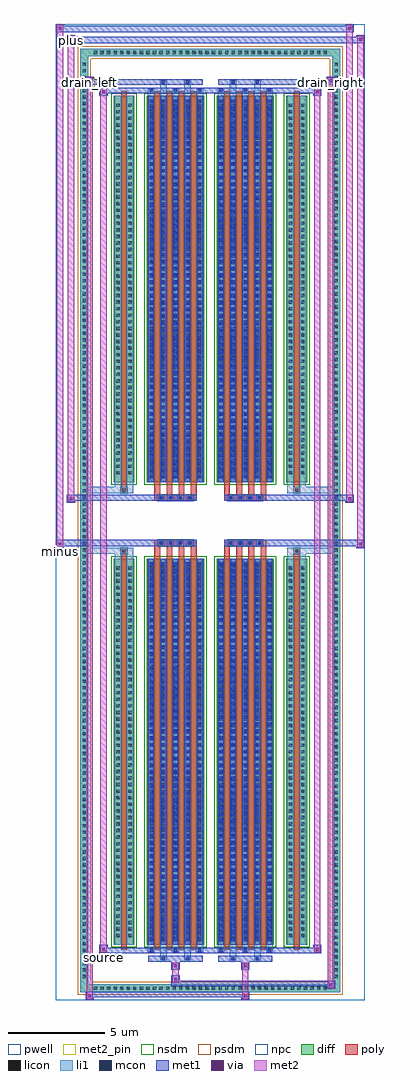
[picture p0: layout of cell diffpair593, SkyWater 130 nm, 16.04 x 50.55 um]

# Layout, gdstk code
import gdstk
lib = gdstk.Library(unit=1e-6, precision=5e-09)
def R(c, l, rs):  # rectangles x0, y0, x1, y1
    for r in rs: c.add(gdstk.rectangle(r[:2], r[2:], *l))
def A(c, l, x, y, w, h, nx, ny, dx, dy):  # array of equal rectangles
    R(c, l, [(x+i*dx, y+j*dy, x+i*dx+w, y+j*dy+h) for i in range(nx) for j in range(ny)])
def P(c, l, *ps):  # polygons
    for p in ps: c.add(gdstk.Polygon(p, *l))
pwell = (64, 44)
diff = (65, 20)
poly = (66, 20)
licon = (66, 44)
li1 = (67, 20)
mcon = (67, 44)
met1 = (68, 20)
via = (68, 44)
met2_pin = (69, 16)
met2 = (69, 20)
nsdm = (93, 44)
psdm = (94, 20)
npc = (95, 20)

diffpair593 = lib.new_cell('diffpair593')
R(diffpair593, pwell, [(-8,-24.84,8,25.71), (-5.32,-23.03,-0.01,-0.805), (0.01,-23.03,5.32,-0.805), (-5.32,0.805,-0.01,23.03), (0.01,0.805,5.32,23.03)])
A(diffpair593, diff, -6.155, -24.44, 0.41, 0.41, 36, 2, 0.34, 48.47)
A(diffpair593, diff, -6.73, -23.835, 0.41, 0.41, 1, 140, 0, 0.34)
A(diffpair593, diff, 6.32, -23.835, 0.41, 0.41, 1, 140, 0, 0.34)
R(diffpair593, diff, [(-6.155,-24.44,6.155,-24.03), (-6.73,-23.835,-6.32,23.835), (6.32,-23.835,6.73,23.835), (-5.01,-21.985,-3.93,-1.985), (-3.29,-21.985,-0.32,-1.985), (0.32,-21.985,3.29,-1.985), (3.93,-21.985,5.01,-1.985), (-5.01,1.985,-3.93,21.985), (-3.29,1.985,-0.32,21.985), (0.32,1.985,3.29,21.985), (3.93,1.985,5.01,21.985), (-6.155,24.03,6.155,24.44)])
P(diffpair593, diff, [(6.73,24.44),(-6.73,24.44),(-6.73,-24.03),(-6.32,-24.03),(-6.32,24.03),(6.32,24.03),(6.32,-24.03),(-6.32,-24.03),(-6.73,-24.03),(-6.73,-24.44),(6.73,-24.44)])
A(diffpair593, poly, -2.9, -22.235, 0.3, 20.5, 4, 2, 0.63, 23.97)
A(diffpair593, poly, 0.71, -22.235, 0.3, 20.5, 4, 2, 0.63, 23.97)
A(diffpair593, poly, -2.9, -1.735, 0.3, 0.4, 4, 2, 0.63, 3.07)
A(diffpair593, poly, 0.71, -1.735, 0.3, 0.4, 4, 2, 0.63, 3.07)
A(diffpair593, poly, -2.72, -1.335, 0.33, 0.33, 4, 2, 0.5, 2.34)
A(diffpair593, poly, 0.89, -1.335, 0.33, 0.33, 4, 2, 0.5, 2.34)
R(diffpair593, poly, [(-4.62,-22.235,-4.32,-1.735), (4.32,-22.235,4.62,-1.735), (-4.635,-1.735,-4.305,-1.405), (-4.635,-1.735,-4.305,-1.405), (4.305,-1.735,4.635,-1.405), (4.305,-1.735,4.635,-1.405), (-2.9,-1.335,-0.71,-1.005), (0.71,-1.335,2.9,-1.005), (-2.9,1.005,-0.71,1.335), (0.71,1.005,2.9,1.335), (-4.635,1.405,-4.305,1.735), (-4.635,1.405,-4.305,1.735), (4.305,1.405,4.635,1.735), (4.305,1.405,4.635,1.735), (-4.62,1.735,-4.32,22.235), (4.32,1.735,4.62,22.235)])
A(diffpair593, licon, -6.035, -24.32, 0.17, 0.17, 36, 2, 0.34, 48.47)
A(diffpair593, licon, -6.61, -23.715, 0.17, 0.17, 1, 140, 0, 0.34)
A(diffpair593, licon, 6.44, -23.715, 0.17, 0.17, 1, 140, 0, 0.34)
A(diffpair593, licon, -4.87, -21.59, 0.17, 0.17, 1, 57, 0, 0.34)
A(diffpair593, licon, -4.24, -21.59, 0.17, 0.17, 1, 57, 0, 0.34)
A(diffpair593, licon, -3.15, -21.59, 0.17, 0.17, 5, 57, 0.63, 0.34)
A(diffpair593, licon, 0.46, -21.59, 0.17, 0.17, 5, 57, 0.63, 0.34)
A(diffpair593, licon, 4.07, -21.59, 0.17, 0.17, 1, 57, 0, 0.34)
A(diffpair593, licon, 4.7, -21.59, 0.17, 0.17, 1, 57, 0, 0.34)
A(diffpair593, licon, -2.64, -1.255, 0.17, 0.17, 4, 2, 0.5, 2.34)
A(diffpair593, licon, 0.97, -1.255, 0.17, 0.17, 4, 2, 0.5, 2.34)
A(diffpair593, licon, -4.87, 2.38, 0.17, 0.17, 1, 57, 0, 0.34)
A(diffpair593, licon, -4.24, 2.38, 0.17, 0.17, 1, 57, 0, 0.34)
A(diffpair593, licon, -3.15, 2.38, 0.17, 0.17, 5, 57, 0.63, 0.34)
A(diffpair593, licon, 0.46, 2.38, 0.17, 0.17, 5, 57, 0.63, 0.34)
A(diffpair593, licon, 4.07, 2.38, 0.17, 0.17, 1, 57, 0, 0.34)
A(diffpair593, licon, 4.7, 2.38, 0.17, 0.17, 1, 57, 0, 0.34)
R(diffpair593, licon, [(-4.555,-1.655,-4.385,-1.485), (4.385,-1.655,4.555,-1.485), (-4.555,1.485,-4.385,1.655), (4.385,1.485,4.555,1.655)])
A(diffpair593, li1, -6.115, -24.4, 0.33, 0.33, 36, 2, 0.34, 48.47)
A(diffpair593, li1, -6.69, -23.795, 0.33, 0.33, 1, 140, 0, 0.34)
A(diffpair593, li1, 6.36, -23.795, 0.33, 0.33, 1, 140, 0, 0.34)
A(diffpair593, li1, -3.23, -22.36, 0.33, 0.375, 3, 2, 1.26, 44.345)
A(diffpair593, li1, -3.15, -22.36, 0.17, 0.17, 3, 2, 1.26, 44.55)
A(diffpair593, li1, 0.38, -22.36, 0.33, 0.375, 3, 2, 1.26, 44.345)
A(diffpair593, li1, 0.46, -22.36, 0.17, 0.17, 3, 2, 1.26, 44.55)
A(diffpair593, li1, -3.23, -21.985, 0.33, 20, 5, 2, 0.63, 23.97)
A(diffpair593, li1, 0.38, -21.985, 0.33, 20, 5, 2, 0.63, 23.97)
A(diffpair593, li1, -3.15, -21.79, 0.17, 0.17, 5, 55, 0.63, 0.36)
A(diffpair593, li1, -3.15, -21.79, 0.17, 19.61, 5, 2, 0.63, 23.97)
A(diffpair593, li1, 0.46, -21.79, 0.17, 0.17, 5, 55, 0.63, 0.36)
A(diffpair593, li1, 0.46, -21.79, 0.17, 19.61, 5, 2, 0.63, 23.97)
A(diffpair593, li1, -4.95, -21.67, 0.33, 0.33, 1, 57, 0, 0.34)
A(diffpair593, li1, -4.32, -21.67, 0.33, 0.33, 1, 57, 0, 0.34)
A(diffpair593, li1, -3.23, -21.67, 0.33, 0.33, 5, 57, 0.63, 0.34)
A(diffpair593, li1, 0.38, -21.67, 0.33, 0.33, 5, 57, 0.63, 0.34)
A(diffpair593, li1, 3.99, -21.67, 0.33, 0.33, 1, 57, 0, 0.34)
A(diffpair593, li1, 4.62, -21.67, 0.33, 0.33, 1, 57, 0, 0.34)
A(diffpair593, li1, -2.72, -1.335, 0.33, 0.33, 4, 2, 0.5, 2.34)
A(diffpair593, li1, 0.89, -1.335, 0.33, 0.33, 4, 2, 0.5, 2.34)
A(diffpair593, li1, -3.15, 2.18, 0.17, 0.17, 5, 55, 0.63, 0.36)
A(diffpair593, li1, 0.46, 2.18, 0.17, 0.17, 5, 55, 0.63, 0.36)
A(diffpair593, li1, -4.95, 2.3, 0.33, 0.33, 1, 57, 0, 0.34)
A(diffpair593, li1, -4.32, 2.3, 0.33, 0.33, 1, 57, 0, 0.34)
A(diffpair593, li1, -3.23, 2.3, 0.33, 0.33, 5, 57, 0.63, 0.34)
A(diffpair593, li1, 0.38, 2.3, 0.33, 0.33, 5, 57, 0.63, 0.34)
A(diffpair593, li1, 3.99, 2.3, 0.33, 0.33, 1, 57, 0, 0.34)
A(diffpair593, li1, 4.62, 2.3, 0.33, 0.33, 1, 57, 0, 0.34)
R(diffpair593, li1, [(-6.73,-24.44,-6.32,-24.03), (-6.73,-24.44,-6.32,-24.03), (-6.32,-24.44,6.32,-24.03), (6.32,-24.44,6.73,-24.03), (6.32,-24.44,6.73,-24.03), (-6.73,-24.03,-6.32,24.03), (6.32,-24.03,6.73,24.03), (-2.6,-22.79,-2.27,-21.985), (-2.52,-22.79,-2.35,-22.62), (-1.34,-22.79,-1.01,-21.985), (-1.26,-22.79,-1.09,-22.62), (1.01,-22.79,1.34,-21.985), (1.09,-22.79,1.26,-22.62), (2.27,-22.79,2.6,-21.985), (2.35,-22.79,2.52,-22.62), (-4.95,-21.985,-4.62,-1.985), (-4.32,-21.985,-3.99,-1.985), (3.99,-21.985,4.32,-1.985), (4.62,-21.985,4.95,-1.985), (-4.95,-1.985,-4.62,-1.405), (-4.32,-1.985,-3.99,-1.405), (3.99,-1.985,4.32,-1.405), (4.62,-1.985,4.95,-1.405), (-6.73,-1.735,-4.635,-1.405), (-4.95,-1.735,-4.635,-1.405), (-4.635,-1.735,-4.305,-1.405), (-4.305,-1.735,-3.99,-1.405), (3.99,-1.735,4.305,-1.405), (4.305,-1.735,4.635,-1.405), (4.305,-1.735,6.73,-1.405), (4.635,-1.735,4.95,-1.405), (-6.73,1.405,-4.635,1.735), (-4.95,1.405,-4.635,1.735), (-4.95,1.405,-4.62,1.985), (-4.635,1.405,-4.305,1.735), (-4.32,1.405,-3.99,1.985), (-4.305,1.405,-3.99,1.735), (3.99,1.405,4.305,1.735), (3.99,1.405,4.32,1.985), (4.305,1.405,4.635,1.735), (4.305,1.405,6.73,1.735), (4.62,1.405,4.95,1.985), (4.635,1.405,4.95,1.735), (-4.95,1.985,-4.62,21.985), (-4.32,1.985,-3.99,21.985), (3.99,1.985,4.32,21.985), (4.62,1.985,4.95,21.985), (-2.6,21.985,-2.27,22.79), (-1.34,21.985,-1.01,22.79), (1.01,21.985,1.34,22.79), (2.27,21.985,2.6,22.79), (-2.52,22.62,-2.35,22.79), (-1.26,22.62,-1.09,22.79), (1.09,22.62,1.26,22.79), (2.35,22.62,2.52,22.79), (-6.73,24.03,-6.32,24.44), (-6.73,24.03,-6.32,24.44), (-6.32,24.03,6.32,24.44), (6.32,24.03,6.73,24.44), (6.32,24.03,6.73,24.44)])
A(diffpair593, mcon, -3.15, -22.36, 0.17, 0.17, 3, 2, 1.26, 44.55)
A(diffpair593, mcon, 0.46, -22.36, 0.17, 0.17, 3, 2, 1.26, 44.55)
A(diffpair593, mcon, -3.15, -21.79, 0.17, 0.17, 5, 55, 0.63, 0.36)
A(diffpair593, mcon, 0.46, -21.79, 0.17, 0.17, 5, 55, 0.63, 0.36)
A(diffpair593, mcon, -2.64, -1.255, 0.17, 0.17, 4, 2, 0.5, 2.34)
A(diffpair593, mcon, 0.97, -1.255, 0.17, 0.17, 4, 2, 0.5, 2.34)
A(diffpair593, mcon, -3.15, 2.18, 0.17, 0.17, 5, 55, 0.63, 0.36)
A(diffpair593, mcon, 0.46, 2.18, 0.17, 0.17, 5, 55, 0.63, 0.36)
R(diffpair593, mcon, [(-2.52,-22.79,-2.35,-22.62), (-1.26,-22.79,-1.09,-22.62), (1.09,-22.79,1.26,-22.62), (2.35,-22.79,2.52,-22.62), (-2.52,22.62,-2.35,22.79), (-1.26,22.62,-1.09,22.79), (1.09,22.62,1.26,22.79), (2.35,22.62,2.52,22.79)])
A(diffpair593, met1, -3.21, -22.42, 0.29, 0.29, 3, 2, 1.26, 44.55)
A(diffpair593, met1, 0.4, -22.42, 0.29, 0.29, 3, 2, 1.26, 44.55)
A(diffpair593, met1, -3.21, -21.985, 0.29, 20, 5, 2, 0.63, 23.97)
A(diffpair593, met1, 0.4, -21.985, 0.29, 20, 5, 2, 0.63, 23.97)
A(diffpair593, met1, -3.21, -21.85, 0.29, 0.29, 5, 55, 0.63, 0.36)
A(diffpair593, met1, 0.4, -21.85, 0.29, 0.29, 5, 55, 0.63, 0.36)
A(diffpair593, met1, -2.7, -1.315, 0.29, 0.29, 4, 2, 0.5, 2.34)
A(diffpair593, met1, 0.91, -1.315, 0.29, 0.29, 4, 2, 0.5, 2.34)
A(diffpair593, met1, -3.21, 2.12, 0.29, 0.29, 5, 55, 0.63, 0.36)
A(diffpair593, met1, 0.4, 2.12, 0.29, 0.29, 5, 55, 0.63, 0.36)
R(diffpair593, met1, [(-6.46,-24.84,-6.03,-24.41), (1.59,-24.84,2.02,-24.41), (-6.46,-24.7,2.02,-24.41), (6.03,-24.27,6.46,-23.84), (-2.02,-24.13,6.46,-23.84), (-2.02,-23.99,-1.59,-23.56), (-2.02,-23.28,-1.59,-22.85), (1.59,-23.28,2.02,-22.85), (-3.21,-22.85,-0.4,-22.56), (-2.58,-22.85,-2.29,-22.56), (-1.32,-22.85,-1.03,-22.56), (0.4,-22.85,3.21,-22.56), (1.03,-22.85,1.32,-22.56), (2.29,-22.85,2.58,-22.56), (-5.75,-22.42,-5.32,-21.99), (-5.75,-22.42,-3.21,-22.13), (-3.21,-22.42,-0.4,-22.13), (-0.4,-22.42,0.4,-22.13), (0.4,-22.42,3.21,-22.13), (3.21,-22.42,5.75,-22.13), (5.32,-22.42,5.75,-21.99), (-8,-1.435,-7.57,-1.005), (7.57,-1.435,8,-1.005), (-8,-1.335,-0.71,-1.005), (-2.9,-1.335,-0.71,-1.005), (0.71,-1.335,2.9,-1.005), (0.71,-1.335,8,-1.005), (-7.43,0.905,-7,1.335), (7,0.905,7.43,1.335), (-7.43,1.005,-2.9,1.335), (-2.9,1.005,-0.71,1.335), (0.71,1.005,2.9,1.335), (2.9,1.005,7.43,1.335), (-5.75,21.99,-5.32,22.42), (5.32,21.99,5.75,22.42), (-5.75,22.13,-3.21,22.42), (-3.21,22.13,-0.4,22.42), (-0.4,22.13,0.4,22.42), (0.4,22.13,3.21,22.42), (3.21,22.13,5.75,22.42), (-6.46,22.56,-6.03,22.99), (-6.46,22.56,-3.21,22.85), (-3.21,22.56,-0.4,22.85), (-2.58,22.56,-2.29,22.85), (-1.32,22.56,-1.03,22.85), (0.4,22.56,3.21,22.85), (1.03,22.56,1.32,22.85), (2.29,22.56,2.58,22.85), (3.21,22.56,6.46,22.85), (6.03,22.56,6.46,22.99), (-7.43,24.71,-7,25.14), (-7.43,24.71,-5.32,25.04), (-5.32,24.71,5.32,25.04), (5.32,24.71,8,25.04), (7.57,24.71,8,25.14), (-8,25.28,-7.57,25.71), (-8,25.28,-5.32,25.61), (-5.32,25.28,5.32,25.61), (5.32,25.28,7.43,25.61), (7,25.28,7.43,25.71)])
R(diffpair593, via, [(-6.32,-24.7,-6.17,-24.55), (1.73,-24.7,1.88,-24.55), (6.17,-24.13,6.32,-23.98), (-1.88,-23.85,-1.73,-23.7), (-1.88,-23.14,-1.73,-22.99), (1.73,-23.14,1.88,-22.99), (-5.61,-22.28,-5.46,-22.13), (5.46,-22.28,5.61,-22.13), (-7.86,-1.295,-7.71,-1.145), (7.71,-1.295,7.86,-1.145), (-7.29,1.045,-7.14,1.195), (7.14,1.045,7.29,1.195), (-5.61,22.13,-5.46,22.28), (5.46,22.13,5.61,22.28), (-6.32,22.7,-6.17,22.85), (6.17,22.7,6.32,22.85), (-7.29,24.85,-7.14,25), (7.71,24.85,7.86,25), (-7.86,25.42,-7.71,25.57), (7.14,25.42,7.29,25.57)])
R(diffpair593, met2_pin, [(-5.785,-22.87,-5.285,-22.37), (-8.035,-1.885,-7.535,-1.385), (-6.495,22.44,-5.995,22.94), (5.995,22.44,6.495,22.94), (-7.465,24.59,-6.965,25.09)])
R(diffpair593, met2, [(-6.41,-24.79,-6.08,-24.46), (-6.41,-24.79,-6.08,22.94), (1.64,-24.79,1.97,-24.46), (1.64,-24.46,1.97,-23.23), (6.08,-24.22,6.41,-23.89), (6.08,-24.22,6.41,22.94), (-1.97,-23.94,-1.64,-23.61), (-1.97,-23.61,-1.64,-23.23), (-1.97,-23.23,-1.64,-22.9), (1.64,-23.23,1.97,-22.9), (-5.7,-22.37,-5.37,-22.04), (-5.7,-22.37,-5.37,22.37), (5.37,-22.37,5.7,-22.04), (5.37,-22.37,5.7,22.37), (-7.95,-1.385,-7.62,-1.055), (-7.95,-1.385,-7.62,25.66), (7.62,-1.385,7.95,-1.055), (7.62,-1.385,7.95,25.09), (-7.38,0.955,-7.05,1.285), (-7.38,0.955,-7.05,25.09), (7.05,0.955,7.38,1.285), (7.05,0.955,7.38,25.66), (-5.7,22.04,-5.37,22.37), (5.37,22.04,5.7,22.37), (-6.41,22.61,-6.08,22.94), (6.08,22.61,6.41,22.94), (-7.38,24.76,-7.05,25.09), (7.62,24.76,7.95,25.09), (-7.95,25.33,-7.62,25.66), (7.05,25.33,7.38,25.66)])
P(diffpair593, met2, [(7.95,-1.385),(7.95,-1.385),(7.95,-1.055),(7.95,-1.055)],
  [(7.95,24.76),(7.95,24.76),(7.95,25.09),(7.95,25.09)],
  [(-7.62,-1.385),(-7.62,-1.385),(-7.62,-1.055),(-7.62,-1.055)],
  [(-7.62,25.33),(-7.62,25.33),(-7.62,25.66),(-7.62,25.66)],
  [(7.38,0.955),(7.38,0.955),(7.38,1.285),(7.38,1.285)],
  [(7.38,25.33),(7.38,25.33),(7.38,25.66),(7.38,25.66)],
  [(-7.05,0.955),(-7.05,0.955),(-7.05,1.285),(-7.05,1.285)],
  [(-7.05,24.76),(-7.05,24.76),(-7.05,25.09),(-7.05,25.09)],
  [(-6.08,-24.79),(-6.08,-24.79),(-6.08,-24.46),(-6.08,-24.46)],
  [(-6.08,22.61),(-6.08,22.61),(-6.08,22.94),(-6.08,22.94)],
  [(6.41,-24.22),(6.41,-24.22),(6.41,-23.89),(6.41,-23.89)],
  [(6.41,22.61),(6.41,22.61),(6.41,22.94),(6.41,22.94)],
  [(-5.37,-22.37),(-5.37,-22.37),(-5.37,-22.04),(-5.37,-22.04)],
  [(-5.37,22.04),(-5.37,22.04),(-5.37,22.37),(-5.37,22.37)],
  [(5.7,-22.37),(5.7,-22.37),(5.7,-22.04),(5.7,-22.04)],
  [(5.7,22.04),(5.7,22.04),(5.7,22.37),(5.7,22.37)])
R(diffpair593, nsdm, [(-5.14,-22.115,-3.8,-1.855), (-3.42,-22.115,-0.19,-1.855), (0.19,-22.115,3.42,-1.855), (3.8,-22.115,5.14,-1.855), (-5.14,1.855,-3.8,22.115), (-3.42,1.855,-0.19,22.115), (0.19,1.855,3.42,22.115), (3.8,1.855,5.14,22.115)])
P(diffpair593, psdm, [(6.86,24.57),(-6.86,24.57),(-6.86,-23.9),(-6.19,-23.9),(-6.19,23.9),(6.19,23.9),(6.19,-23.9),(-6.19,-23.9),(-6.86,-23.9),(-6.86,-24.57),(6.86,-24.57)])
A(diffpair593, npc, -2.74, -1.355, 0.37, 0.37, 4, 2, 0.5, 2.34)
A(diffpair593, npc, 0.87, -1.355, 0.37, 0.37, 4, 2, 0.5, 2.34)
R(diffpair593, npc, [(-4.655,-1.755,-4.285,-1.385), (4.285,-1.755,4.655,-1.385), (-2.74,-1.355,-1.87,-0.985), (-2.74,-1.355,-1.87,-0.985), (-2.24,-1.355,-1.37,-0.985), (-2.24,-1.355,-1.37,-0.985), (-1.74,-1.355,-0.87,-0.985), (-1.74,-1.355,-0.87,-0.985), (0.87,-1.355,1.74,-0.985), (0.87,-1.355,1.74,-0.985), (1.37,-1.355,2.24,-0.985), (1.37,-1.355,2.24,-0.985), (1.87,-1.355,2.74,-0.985), (1.87,-1.355,2.74,-0.985), (-2.74,0.985,-1.87,1.355), (-2.74,0.985,-1.87,1.355), (-2.24,0.985,-1.37,1.355), (-2.24,0.985,-1.37,1.355), (-1.74,0.985,-0.87,1.355), (-1.74,0.985,-0.87,1.355), (0.87,0.985,1.74,1.355), (0.87,0.985,1.74,1.355), (1.37,0.985,2.24,1.355), (1.37,0.985,2.24,1.355), (1.87,0.985,2.74,1.355), (1.87,0.985,2.74,1.355), (-4.655,1.385,-4.285,1.755), (4.285,1.385,4.655,1.755)])
diffpair593.add(gdstk.Label('minus', (-7.785,-1.635), layer=69, texttype=5))
diffpair593.add(gdstk.Label('drain_right', (6.245,22.69), layer=69, texttype=5))
diffpair593.add(gdstk.Label('drain_left', (-6.245,22.69), layer=69, texttype=5))
diffpair593.add(gdstk.Label('source', (-5.535,-22.62), layer=69, texttype=5))
diffpair593.add(gdstk.Label('plus', (-7.215,24.84), layer=69, texttype=5))

lib.write_gds('diffpair593.gds')
